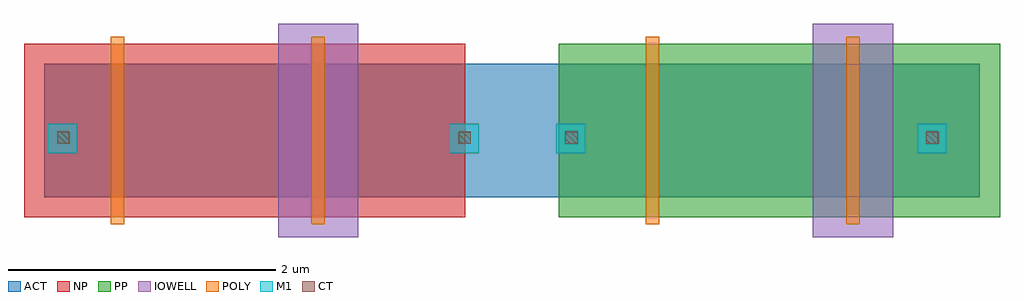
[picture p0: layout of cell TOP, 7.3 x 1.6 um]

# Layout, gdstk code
import gdstk
lib = gdstk.Library(unit=1e-6, precision=1e-09)
def R(c, l, rs):  # rectangles x0, y0, x1, y1
    for r in rs: c.add(gdstk.rectangle(r[:2], r[2:], *l))
ACT = (2, 1)
IOWELL = (28, 1)
POLY = (41, 1)
NP = (52, 1)
PP = (53, 1)
CT = (72, 1)
M1 = (81, 1)

top = lib.new_cell('TOP')
R(top, ACT, [(0,0,7,1)])
R(top, IOWELL, [(1.75,-0.3,2.35,1.3), (5.75,-0.3,6.35,1.3)])
R(top, POLY, [(0.5,-0.2,0.6,1.2), (2,-0.2,2.1,1.2), (4.5,-0.2,4.6,1.2), (6,-0.2,6.1,1.2)])
R(top, NP, [(-0.15,-0.15,3.15,1.15)])
R(top, PP, [(3.85,-0.15,7.15,1.15)])
R(top, CT, [(0.1,0.4,0.19,0.49), (3.1,0.4,3.19,0.49), (3.9,0.4,3.99,0.49), (6.6,0.4,6.69,0.49)])
R(top, M1, [(0.03,0.33,0.25,0.55), (3.03,0.33,3.25,0.55), (3.83,0.33,4.05,0.55), (6.53,0.33,6.75,0.55)])

lib.write_gds('TOP.gds')
